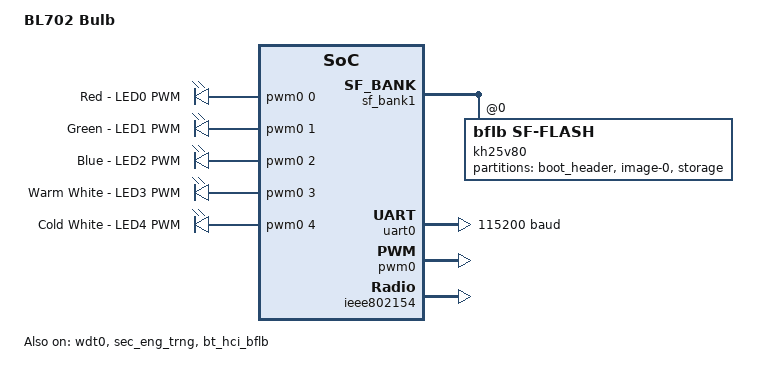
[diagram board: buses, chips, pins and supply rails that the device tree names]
/*
 * Copyright (c) 2026 MASSDRIVER EI (massdriver.space)
 * SPDX-License-Identifier: Apache-2.0
 */

/dts-v1/;

#include <bflb/bl702.dtsi>
#include "bl702_bulb-pinctrl.dtsi"

/ {
	model = "BL702 Bulb";
	compatible = "bflb,bl702";

	chosen {
		zephyr,flash = &kh25v80;
		zephyr,flash-controller = &sf_bank1;
		zephyr,code-partition = &slot0_partition;
		zephyr,itcm = &itcm;
		zephyr,sram = &sram0_bt;
		zephyr,console = &uart0;
		zephyr,shell-uart = &uart0;
		zephyr,ot-uart = &uart0;
		zephyr,entropy = &sec_eng_trng;
		zephyr,ieee802154 = &ieee802154;
		zephyr,bt-hci = &bt_hci_bflb;
	};

	aliases {
		watchdog0 = &wdt0;
		pwm-led0 = &red_pwm_led;
		pwm-led1 = &green_pwm_led;
		pwm-led2 = &blue_pwm_led;
		pwm-led3 = &warm_white_pwm_led;
		pwm-led4 = &cold_white_pwm_led;
	};

	pwmleds: pwmleds {
		compatible = "pwm-leds";
		status = "okay";

		red_pwm_led: led_pwm_0 {
			pwms = <&pwm0 0 PWM_MSEC(1) PWM_POLARITY_NORMAL>;
			label = "Red - LED0 PWM";
		};

		green_pwm_led: led_pwm_1 {
			pwms = <&pwm0 1 PWM_MSEC(1) PWM_POLARITY_NORMAL>;
			label = "Green - LED1 PWM";
		};

		blue_pwm_led: led_pwm_2 {
			pwms = <&pwm0 2 PWM_MSEC(1) PWM_POLARITY_NORMAL>;
			label = "Blue - LED2 PWM";
		};

		warm_white_pwm_led: led_pwm_3 {
			pwms = <&pwm0 3 PWM_MSEC(1) PWM_POLARITY_NORMAL>;
			label = "Warm White - LED3 PWM";
		};

		cold_white_pwm_led: led_pwm_4 {
			pwms = <&pwm0 4 PWM_MSEC(1) PWM_POLARITY_NORMAL>;
			label = "Cold White - LED4 PWM";
		};
	};
};

&cpu0 {
	clock-frequency = <DT_FREQ_M(144)>;
};

&sf_bank1 {
	reg = <0x23000000 0x100000>;
	ranges = <0x0 0x23000000 0x100000>;

	kh25v80: flash@0 {
		compatible = "bflb,sf-flash", "soc-nv-flash";
		reg = <0 0x100000>;
		ranges;
		#address-cells = <1>;
		#size-cells = <1>;
		write-block-size = <4>;
		erase-block-size = <DT_SIZE_K(4)>;

		/* Sad flash can only do DO at best */
		spi-bus-mode = <1>;
		sf-pad = <2>;
		jedec-id = [c2 20 14];

		partitions {
			ranges;
			#address-cells = <1>;
			#size-cells = <1>;

			boot_header_partition: partition@0 {
				compatible = "zephyr,mapped-partition";
				label = "boot_header";
				reg = <0x00000000 0x2000>;
				read-only;
			};

			slot0_partition: partition@2000 {
				compatible = "zephyr,mapped-partition";
				label = "image-0";
				reg = <0x00002000 (0xf0000 - 0x2000)>;
				read-only;
			};

			storage_partition: partition@f0000 {
				compatible = "zephyr,mapped-partition";
				label = "storage";
				reg = <0x00f0000 0x10000>;
			};
		};
	};
};

&gpio0 {
	status = "okay";
};

&uart0 {
	status = "okay";
	current-speed = <115200>;

	pinctrl-0 = <&uart0_default>;
	pinctrl-names = "default";
};

&pwm0 {
	status = "okay";

	pinctrl-0 = <&pwm0_default>;
	pinctrl-names = "default";
};

&wdt0 {
	status = "okay";
};

&sec_eng_trng {
	status = "okay";
};

&ieee802154 {
	status = "okay";
};

&bt_hci_bflb {
	status = "okay";
};
